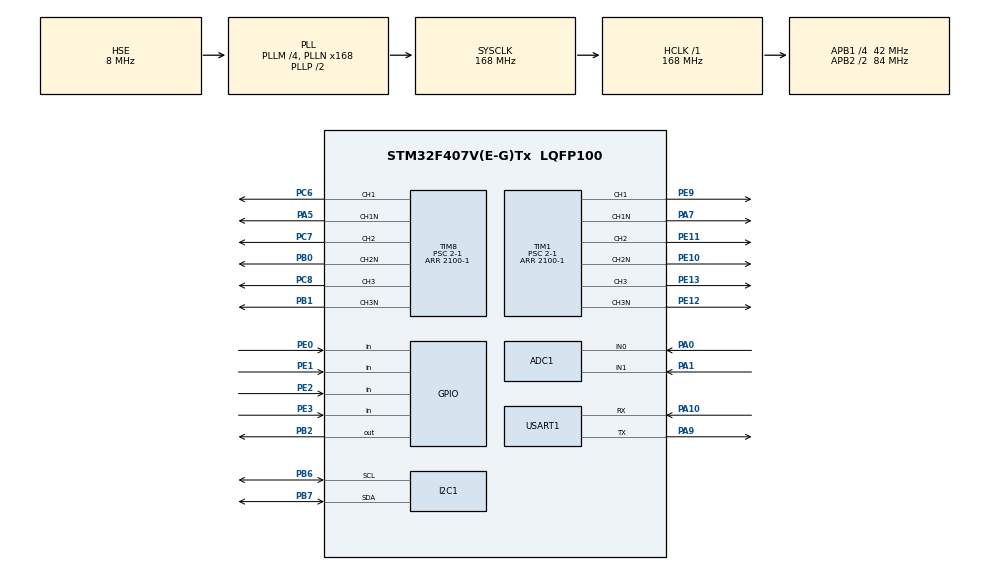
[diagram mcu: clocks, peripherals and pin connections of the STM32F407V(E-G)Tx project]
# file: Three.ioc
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ADC1.Channel-3\#ChannelRegularConversion=ADC_CHANNEL_0
ADC1.Channel-4\#ChannelRegularConversion=ADC_CHANNEL_1
ADC1.EOCSelection=ADC_EOC_SINGLE_CONV
ADC1.ExternalTrigConv=ADC_EXTERNALTRIGCONV_T8_TRGO
ADC1.NbrOfConversion=2
ADC1.NbrOfConversionFlag=1
ADC1.Rank-3\#ChannelRegularConversion=1
ADC1.Rank-4\#ChannelRegularConversion=2
ADC1.SamplingTime-3\#ChannelRegularConversion=ADC_SAMPLETIME_3CYCLES
ADC1.SamplingTime-4\#ChannelRegularConversion=ADC_SAMPLETIME_3CYCLES
ADC1.ScanConvMode=ENABLE
ADC1.master=1
Dma.ADC1.0.Direction=DMA_PERIPH_TO_MEMORY
Dma.ADC1.0.FIFOMode=DMA_FIFOMODE_DISABLE
Dma.ADC1.0.Instance=DMA2_Stream0
Dma.ADC1.0.MemDataAlignment=DMA_MDATAALIGN_HALFWORD
Dma.ADC1.0.MemInc=DMA_MINC_ENABLE
Dma.ADC1.0.Mode=DMA_NORMAL
Dma.ADC1.0.PeriphDataAlignment=DMA_PDATAALIGN_HALFWORD
Dma.ADC1.0.PeriphInc=DMA_PINC_DISABLE
Dma.ADC1.0.Priority=DMA_PRIORITY_HIGH
Dma.Request0=ADC1
Mcu.Family=STM32F4
Mcu.Name=STM32F407V(E-G)Tx
Mcu.Package=LQFP100
NVIC.DMA2_Stream0_IRQn=true\:0\:0\:false\:false\:true\:false\:true\:true
NVIC.PriorityGroup=NVIC_PRIORITYGROUP_4
NVIC.TIM2_IRQn=true\:2\:0\:true\:false\:true\:true\:true\:true
NVIC.TIM5_IRQn=true\:0\:0\:false\:false\:true\:true\:true\:true
NVIC.TIM8_UP_TIM13_IRQn=true\:1\:0\:true\:false\:true\:true\:true\:true
PA0-WKUP.Signal=ADCx_IN0
PA1.Signal=ADCx_IN1
PA10.Mode=Asynchronous
PA10.Signal=USART1_RX
PA13.Mode=Serial_Wire
PA13.Signal=SYS_JTMS-SWDIO
PA14.Mode=Serial_Wire
PA14.Signal=SYS_JTCK-SWCLK
PA5.Mode=PWM Generation1 CH1 CH1N
PA5.Signal=TIM8_CH1N
PA7.Mode=PWM Generation1 CH1 CH1N
PA7.Signal=TIM1_CH1N
PA9.Mode=Asynchronous
PA9.Signal=USART1_TX
PB0.Mode=PWM Generation2 CH2 CH2N
PB0.Signal=TIM8_CH2N
PB1.Mode=PWM Generation3 CH3 CH3N
PB1.Signal=TIM8_CH3N
PB2.PinState=GPIO_PIN_RESET
PB2.Signal=GPIO_Output
PB6.Mode=I2C
PB6.Signal=I2C1_SCL
PB7.Mode=I2C
PB7.Signal=I2C1_SDA
PC6.Signal=S_TIM8_CH1
PC7.Signal=S_TIM8_CH2
PC8.Signal=S_TIM8_CH3
PE0.GPIO_PuPd=GPIO_PULLUP
PE0.Signal=GPIO_Input
PE1.GPIO_PuPd=GPIO_PULLUP
PE1.Signal=GPIO_Input
PE10.Mode=PWM Generation2 CH2 CH2N
PE10.Signal=TIM1_CH2N
PE11.Signal=S_TIM1_CH2
PE12.Mode=PWM Generation3 CH3 CH3N
PE12.Signal=TIM1_CH3N
PE13.Signal=S_TIM1_CH3
PE2.GPIO_PuPd=GPIO_PULLUP
PE2.Signal=GPIO_Input
PE3.GPIO_PuPd=GPIO_PULLUP
PE3.Signal=GPIO_Input
PE9.Signal=S_TIM1_CH1
PH0-OSC_IN.Mode=HSE-External-Oscillator
PH0-OSC_IN.Signal=RCC_OSC_IN
PH1-OSC_OUT.Mode=HSE-External-Oscillator
PH1-OSC_OUT.Signal=RCC_OSC_OUT
ProjectManager.HeapSize=0x200
ProjectManager.StackSize=0x400
ProjectManager.TargetToolchain=MDK-ARM V5.32
RCC.48MHZClocksFreq_Value=84000000
RCC.AHBFreq_Value=168000000
RCC.APB1CLKDivider=RCC_HCLK_DIV4
RCC.APB1Freq_Value=42000000
RCC.APB1TimFreq_Value=84000000
RCC.APB2CLKDivider=RCC_HCLK_DIV2
RCC.APB2Freq_Value=84000000
RCC.APB2TimFreq_Value=168000000
RCC.CortexFreq_Value=168000000
RCC.HCLKFreq_Value=168000000
RCC.HSE_VALUE=8000000
RCC.HSI_VALUE=16000000
RCC.LSE_VALUE=32768
RCC.PLLM=4
RCC.PLLN=168
RCC.PLLSourceVirtual=RCC_PLLSOURCE_HSE
RCC.SYSCLKFreq_VALUE=168000000
RCC.SYSCLKSource=RCC_SYSCLKSOURCE_PLLCLK
RCC.VCOOutputFreq_Value=336000000
SH.ADCx_IN0.0=ADC1_IN0,IN0
SH.ADCx_IN1.0=ADC1_IN1,IN1
SH.S_TIM1_CH1.0=TIM1_CH1,PWM Generation1 CH1 CH1N
SH.S_TIM1_CH2.0=TIM1_CH2,PWM Generation2 CH2 CH2N
SH.S_TIM1_CH3.0=TIM1_CH3,PWM Generation3 CH3 CH3N
SH.S_TIM8_CH1.0=TIM8_CH1,PWM Generation1 CH1 CH1N
SH.S_TIM8_CH2.0=TIM8_CH2,PWM Generation2 CH2 CH2N
SH.S_TIM8_CH3.0=TIM8_CH3,PWM Generation3 CH3 CH3N
TIM1.AutomaticOutput=TIM_AUTOMATICOUTPUT_ENABLE
TIM1.Channel-PWM\ Generation1\ CH1\ CH1N=TIM_CHANNEL_1
TIM1.Channel-PWM\ Generation2\ CH2\ CH2N=TIM_CHANNEL_2
TIM1.Channel-PWM\ Generation3\ CH3\ CH3N=TIM_CHANNEL_3
TIM1.CounterMode=TIM_COUNTERMODE_CENTERALIGNED1
TIM1.DeadTime=168
TIM1.OCIdleState_1=TIM_OCIDLESTATE_SET
TIM1.OCIdleState_2=TIM_OCIDLESTATE_SET
TIM1.OCIdleState_3=TIM_OCIDLESTATE_SET
TIM1.Period=2100-1
TIM1.Prescaler=2-1
TIM1.Pulse-PWM\ Generation1\ CH1\ CH1N=500
TIM1.Pulse-PWM\ Generation2\ CH2\ CH2N=500
TIM1.Pulse-PWM\ Generation3\ CH3\ CH3N=500
TIM1.RepetitionCounter=1
TIM2.Period=2000
TIM2.Prescaler=8400
TIM5.Period=100-1
TIM5.Prescaler=\ 56-1
TIM8.AutomaticOutput=TIM_AUTOMATICOUTPUT_ENABLE
TIM8.Channel-PWM\ Generation1\ CH1\ CH1N=TIM_CHANNEL_1
TIM8.Channel-PWM\ Generation2\ CH2\ CH2N=TIM_CHANNEL_2
TIM8.Channel-PWM\ Generation3\ CH3\ CH3N=TIM_CHANNEL_3
TIM8.CounterMode=TIM_COUNTERMODE_CENTERALIGNED1
TIM8.DeadTime=84
TIM8.OCIdleState_1=TIM_OCIDLESTATE_RESET
TIM8.Period=2100-1
TIM8.Prescaler=2-1
TIM8.Pulse-PWM\ Generation1\ CH1\ CH1N=500
TIM8.Pulse-PWM\ Generation2\ CH2\ CH2N=500
TIM8.Pulse-PWM\ Generation3\ CH3\ CH3N=500
TIM8.RepetitionCounter=1
TIM8.TIM_MasterOutputTrigger=TIM_TRGO_UPDATE
USART1.VirtualMode=VM_ASYNC
VP_TIM2_VS_ClockSourceINT.Mode=Internal
VP_TIM5_VS_ClockSourceINT.Mode=Internal
VP_TIM8_VS_ClockSourceINT.Mode=Internal
board=custom

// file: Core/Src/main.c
/* USER CODE BEGIN Header */
/**
  ******************************************************************************
  * @file           : main.c
  * @brief          : Main program body
  ******************************************************************************
  * @attention
  *
  * Copyright (c) 2025 STMicroelectronics.
  * All rights reserved.
  *
  * This software is licensed under terms that can be found in the LICENSE file
  * in the root directory of this software component.
  * If no LICENSE file comes with this software, it is provided AS-IS.
  *
  ******************************************************************************
  */
/* USER CODE END Header */
#include "main.h"
#include "adc.h"
#include "dma.h"
#include "i2c.h"
#include "tim.h"
#include "usart.h"
#include "gpio.h"

/* USER CODE BEGIN Includes */
#include "sin_table.h"
#include "harmonic3_table.h"
#include "oled.h"
#include <math.h>
#include <string.h>
#include <stdio.h>
#include "button.h"
#include "flash.h"
#include "filter.h"
/* USER CODE END Includes */

/* USER CODE BEGIN PTD */
#define DMA_SIZE 1600
#define PI 3.1415926f
#define V_TAR_DEF 32.0f
#define FLASH_PARAM_ADDR  ((uint32_t)0x08060000)
#define ADC_FILTER_SIZE 10

typedef struct
{
	uint16_t index_raw;
	uint16_t index1;
	uint16_t index2;
	uint16_t index3;
} Index_TypeDef;

typedef struct
{
	uint16_t duty1;
	uint16_t duty2;
	uint16_t duty3;
	uint16_t dutya;
	uint16_t dutyb;
	uint16_t dutyc;
} Duty_TypeDef;

typedef struct
{
	float data[5];
	uint8_t tail[4];
} Tx_Buf_TypeDef;

typedef struct
{
	float v_filter_buf[DMA_SIZE/(2*ADC_FILTER_SIZE)];
	uint16_t v_buf[DMA_SIZE/2];
	uint16_t i_buf[DMA_SIZE/2];
	float Vrms;
	float Irms;
	float Iavr;
	float Vavr;
	float Vtar;
	float sin_k;
	float sin_n;
	float offset;

	float kp;
	float ki;
	float err;
	float err_prev;
	float w0;
	float kv;
} V_Ctrl_TypeDef;

typedef struct
{
	uint8_t sin_k[16];
	uint8_t vrms[8];
	uint8_t irms[8];
	uint8_t sin_n[16];
	uint8_t offset[16];

	uint8_t kp[8];
	uint8_t ki[8];
	uint8_t vtar[8];
	uint8_t kv[8];
	uint8_t w0[8];
} OLED_String_Group;

typedef enum
{
	info_page = 0,
	setting_page,
	in_setting
} PAGE_NUM;

typedef enum
{
	sel_kp = 0,
	sel_ki,
	sel_var,
	sel_kv,
	sel_w0,
	sel_sin_n,
	sel_offset
} SEL_NUM;

typedef struct
{
	uint8_t page_num;
	uint8_t sel_num;
} OLED_STATE;

/* USER CODE END PTD */

/* USER CODE BEGIN PV */
V_Ctrl_TypeDef v_ctrl = {0};

const OLED_String_Group oled_string_group = {
	.sin_k	= "    M:",
	.vrms		= "V_RMS:",
	.irms		= "I_RMS:",
	.sin_n      = "SIN_N :",

	.kp			= "  kp:",
	.ki			= "  ki:",
	.vtar		= "V_Tar:",
	.kv			= "  kv:",
	.w0			= "  f:",
	.offset ="offset:"
};

volatile uint8_t dma_flag = 0;
volatile uint8_t tim2_flag = 0;
volatile uint16_t tim2_count = 0;
volatile uint8_t tim_1s = 0;
uint16_t dma_buf[DMA_SIZE] = {0};

OLED_STATE oled_state = {0};

Button btn0 = {0};
Button btn1 = {0};
Button btn2 = {0};
Button btn3 = {0};

/* USER CODE END PV */

void SystemClock_Config(void);
/* USER CODE BEGIN PFP */

/*-----------------------设置PWM的函数------------------------------*/
void pwm_start(void);
void get_index(Index_TypeDef* index, float w0t);
void get_duty(Index_TypeDef* index, Duty_TypeDef* duty, V_Ctrl_TypeDef* v_ctrl);
void set_compare(Duty_TypeDef* duty);

/*--------------------PI控制电压所用函数--------------------------*/
void V_Ctrl_Init(V_Ctrl_TypeDef* v_ctrl);
void calculate_aver(V_Ctrl_TypeDef* v_ctrl);
void calculate_rms(V_Ctrl_TypeDef* v_ctrl);
void v_pid_update(V_Ctrl_TypeDef* v_ctrl);
void split_buf(V_Ctrl_TypeDef* v_ctrl);

/*------------------------屏幕显示所用函数--------------------------------*/
void display_info_page_title(const OLED_String_Group* oled_string_group);
void display_info(const V_Ctrl_TypeDef* v_ctrl);
void display_setting_page_title(const OLED_String_Group* oled_string_group);
void display_array(const OLED_STATE* oled_state);
void display_star(const OLED_STATE* oled_state);
void display_setting_info(V_Ctrl_TypeDef* v_ctrl);

/*--------------------按键控制所用函数--------------------------*/
void button_group_init(void);
void button_group_update(void);
void button_ui_update(void);

/*------------flash------------*/

/* USER CODE END PFP */

int main(void)
{

  /* MCU Configuration--------------------------------------------------------*/

  /* Reset of all peripherals, Initializes the Flash interface and the Systick. */
  HAL_Init();

  /* Configure the system clock */
  SystemClock_Config();

  /* Initialize all configured peripherals */
  MX_GPIO_Init();
  MX_DMA_Init();
  MX_USART1_UART_Init();
  MX_TIM5_Init();
  MX_ADC1_Init();
  MX_TIM8_Init();
  MX_I2C1_Init();
  MX_TIM2_Init();
  MX_TIM1_Init();
  /* USER CODE BEGIN 2 */

	//初始化PID控制
	V_Ctrl_Init(&v_ctrl);

	//开启PWM波
	pwm_start();

	//用来中断对w0积分
	HAL_GPIO_WritePin(GPIOB,GPIO_PIN_2,GPIO_PIN_SET);
	HAL_TIM_Base_Start_IT(&htim5);

//	HAL_TIM_Base_Start_IT(&htim8);

	//用来中断显示屏幕
	//WriteFlashData((FLASH_PARAM_ADDR+24), (uint8_t *)0xffffffff, sizeof(uint32_t));
	HAL_TIM_Base_Start_IT(&htim2);

	//开启ADC采样
	HAL_ADC_Start_DMA(&hadc1, (uint32_t*)dma_buf, DMA_SIZE);
	OLED_Init();
	OLED_Display_On();
	display_info_page_title(&oled_string_group);

	//初始化按键
	button_group_init();

  /* USER CODE END 2 */

  /* Infinite loop */
  /* USER CODE BEGIN WHILE */
  while (1)
  {
		button_group_update();
		button_ui_update();

		if(tim2_flag){
				if(tim2_count >= 50&& tim_1s == 0 )
				{
					tim_1s = 1;
					tim2_count = 0;
				}

				tim2_flag =0;
				if(oled_state.page_num == info_page) display_info(&v_ctrl);
				if(oled_state.page_num == in_setting)
				{
					//添加一行Vrms显示，方便调变比
					char v_rms[8];
					OLED_ShowString(0, 7, (uint8_t*)oled_string_group.vrms, 12);
					sprintf(v_rms, "%.3f", v_ctrl.Vrms);
					OLED_ShowString(50, 7, (uint8_t *)v_rms, 12);
				}
		}

		if(dma_flag == 1)
		{
			dma_flag = 0;
			split_buf(&v_ctrl);
			calculate_aver(&v_ctrl);
			calculate_rms(&v_ctrl);

			v_pid_update(&v_ctrl);
			HAL_ADC_Start_DMA(&hadc1, (uint32_t*)dma_buf, DMA_SIZE);
//			HAL_GPIO_TogglePin(GPIOB,GPIO_PIN_2);
		}

    /* USER CODE END WHILE */

	}
}

void SystemClock_Config(void)
{
  RCC_OscInitTypeDef RCC_OscInitStruct = {0};
  RCC_ClkInitTypeDef RCC_ClkInitStruct = {0};

  /** Configure the main internal regulator output voltage
  */
  __HAL_RCC_PWR_CLK_ENABLE();
  __HAL_PWR_VOLTAGESCALING_CONFIG(PWR_REGULATOR_VOLTAGE_SCALE1);

  /** Initializes the RCC Oscillators according to the specified parameters
  * in the RCC_OscInitTypeDef structure.
  */
  RCC_OscInitStruct.OscillatorType = RCC_OSCILLATORTYPE_HSE;
  RCC_OscInitStruct.HSEState = RCC_HSE_ON;
  RCC_OscInitStruct.PLL.PLLState = RCC_PLL_ON;
  RCC_OscInitStruct.PLL.PLLSource = RCC_PLLSOURCE_HSE;
  RCC_OscInitStruct.PLL.PLLM = 4;
  RCC_OscInitStruct.PLL.PLLN = 168;
  RCC_OscInitStruct.PLL.PLLP = RCC_PLLP_DIV2;
  RCC_OscInitStruct.PLL.PLLQ = 4;
  if (HAL_RCC_OscConfig(&RCC_OscInitStruct) != HAL_OK)
  {
    Error_Handler();
  }

  /** Initializes the CPU, AHB and APB buses clocks
  */
  RCC_ClkInitStruct.ClockType = RCC_CLOCKTYPE_HCLK|RCC_CLOCKTYPE_SYSCLK
                              |RCC_CLOCKTYPE_PCLK1|RCC_CLOCKTYPE_PCLK2;
  RCC_ClkInitStruct.SYSCLKSource = RCC_SYSCLKSOURCE_PLLCLK;
  RCC_ClkInitStruct.AHBCLKDivider = RCC_SYSCLK_DIV1;
  RCC_ClkInitStruct.APB1CLKDivider = RCC_HCLK_DIV4;
  RCC_ClkInitStruct.APB2CLKDivider = RCC_HCLK_DIV2;

  if (HAL_RCC_ClockConfig(&RCC_ClkInitStruct, FLASH_LATENCY_5) != HAL_OK)
  {
    Error_Handler();
  }
}

/* USER CODE BEGIN 4 */
void HAL_TIM_PeriodElapsedCallback(TIM_HandleTypeDef *htim)
{
	if(htim->Instance == TIM8)
	{
		//HAL_GPIO_TogglePin(GPIOA, GPIO_PIN_1);
	}

	if(htim->Instance == TIM5)
	{
		static float w0t = 0.0f;
		static Index_TypeDef INDEX = {0};
		static Duty_TypeDef DUTY = {0};
		static float Ts = 1.0f/15000.0f; //15kHz

		w0t += v_ctrl.w0*2*PI * Ts; //15kHz

		if(w0t > 2*PI) w0t -= 2*PI;
		else if(w0t < 0) w0t += 2*PI;

		get_index(&INDEX, w0t);
		get_duty(&INDEX, &DUTY, &v_ctrl);
		set_compare(&DUTY);
	}
	if(htim->Instance == TIM2)
	{
		tim2_flag = 1;
		if(tim_1s == 0)
		{
			tim2_count ++ ;
		}

	}
}

void HAL_ADC_ConvCpltCallback(ADC_HandleTypeDef *hadc)
{
	if(hadc->Instance == ADC1)
	{
		dma_flag = 1;
	}
}

void get_index(Index_TypeDef* index, float w0t)
{
	index->index_raw = (uint16_t)roundf(w0t / (2.0f * PI) * 1200);
	index->index1 = index->index_raw;
	index->index2 = (index->index_raw + 400) % 1200;
	index->index3 = (index->index_raw + 800) % 1200;

	return;
}

void get_duty(Index_TypeDef* index, Duty_TypeDef* duty, V_Ctrl_TypeDef* v_ctrl)
{
	int indexa = index->index1+(int)v_ctrl->offset;
	if(indexa>1200)
	{
		indexa = indexa-1200;
	}
	else if (indexa<0)
	{
		indexa = 1200+indexa;
	}

	int indexb = index->index2+(int)v_ctrl->offset;
	if(indexb>1200)
	{
		indexb = indexb-1200;
	}
	else if (indexb<0)
	{
		indexb = 1200+indexb;
	}

	int indexc = index->index3+(int)v_ctrl->offset;
	if(indexc>1200)
	{
		indexc = indexc-1200;
	}
	else if (indexc<0)
	{
		indexc = 1200+indexc;
	}

	if(tim_1s == 0)
	{
		duty->duty1 =v_ctrl->sin_k * (sin_table[index->index1] + harmonic3_table[index->index1] / 6.0f) + 1050;
		duty->duty2 = v_ctrl->sin_k* (sin_table[index->index2] + harmonic3_table[index->index2] / 6.0f) + 1050;
		duty->duty3 =v_ctrl->sin_k * (sin_table[index->index3] + harmonic3_table[index->index3] / 6.0f) + 1050;

	//	duty->duty1 = 0.7  * (sin_table[index->index1] + harmonic3_table[index->index1] / 6.0f) + 1050;
	//	duty->duty2 = 0.7  * (sin_table[index->index2] + harmonic3_table[index->index2] / 6.0f) + 1050;
	//	duty->duty3 = 0.7  * (sin_table[index->index3] + harmonic3_table[index->index3] / 6.0f) + 1050;

		duty->dutya =  v_ctrl->sin_k * (sin_table[indexa] + harmonic3_table[indexa] / 6.0f) + 1050;
		duty->dutyb =  v_ctrl->sin_k* (sin_table[indexb] + harmonic3_table[indexb] / 6.0f) + 1050;
		duty->dutyc =  v_ctrl->sin_k * (sin_table[indexc] + harmonic3_table[indexc] / 6.0f) + 1050;
	}

	else {
		duty->duty1 = v_ctrl->sin_k  * (sin_table[index->index1] + harmonic3_table[index->index1] / 6.0f) + 1050;
		duty->duty2 = v_ctrl->sin_k  * (sin_table[index->index2] + harmonic3_table[index->index2] / 6.0f) + 1050;
		duty->duty3 = v_ctrl->sin_k  * (sin_table[index->index3] + harmonic3_table[index->index3] / 6.0f) + 1050;

		duty->dutya = v_ctrl->sin_n*(sin_table[indexa] + harmonic3_table[indexa] / 6.0f) + 1050;
		duty->dutyb = v_ctrl->sin_n*(sin_table[indexb] + harmonic3_table[indexb] / 6.0f) + 1050;
		duty->dutyc = v_ctrl->sin_n*(sin_table[indexc] + harmonic3_table[indexc] / 6.0f) + 1050;

		HAL_GPIO_WritePin(GPIOB,GPIO_PIN_2,GPIO_PIN_RESET);
	}

}

void set_compare(Duty_TypeDef* duty)
{
	__HAL_TIM_SetCompare(&htim8, TIM_CHANNEL_1, duty->duty1);
	__HAL_TIM_SetCompare(&htim1, TIM_CHANNEL_1, duty->dutya);

	__HAL_TIM_SetCompare(&htim8, TIM_CHANNEL_2, duty->duty2);
	__HAL_TIM_SetCompare(&htim1, TIM_CHANNEL_2, duty->dutyb);

	__HAL_TIM_SetCompare(&htim8, TIM_CHANNEL_3, duty->duty3);
	__HAL_TIM_SetCompare(&htim1, TIM_CHANNEL_3, duty->dutyc);

	return;
}

void pwm_start(void)
{
	HAL_TIM_PWM_Start(&htim8, TIM_CHANNEL_1);
	HAL_TIMEx_PWMN_Start(&htim8, TIM_CHANNEL_1);
	HAL_TIM_PWM_Start(&htim8, TIM_CHANNEL_2);
	HAL_TIMEx_PWMN_Start(&htim8, TIM_CHANNEL_2);
	HAL_TIM_PWM_Start(&htim8, TIM_CHANNEL_3);
	HAL_TIMEx_PWMN_Start(&htim8, TIM_CHANNEL_3);

	//开启tim1 整流pwm
	HAL_TIM_PWM_Start(&htim1, TIM_CHANNEL_1);
	HAL_TIMEx_PWMN_Start(&htim1, TIM_CHANNEL_1);
	HAL_TIM_PWM_Start(&htim1, TIM_CHANNEL_2);
	HAL_TIMEx_PWMN_Start(&htim1, TIM_CHANNEL_2);
	HAL_TIM_PWM_Start(&htim1, TIM_CHANNEL_3);
	HAL_TIMEx_PWMN_Start(&htim1, TIM_CHANNEL_3);

	return;
}

void V_Ctrl_Init(V_Ctrl_TypeDef* v_ctrl)
{
	//统一赋0，需要改的单独列出来改
	memset((void *)v_ctrl, 0x0, sizeof(V_Ctrl_TypeDef));
	float kv_flash = *(float*)(FLASH_PARAM_ADDR + 0);
	float   Vtar_flash = *(float*)(FLASH_PARAM_ADDR + 4);
	float   kp_flash   = *(float*)(FLASH_PARAM_ADDR + 8);
	float   ki_flash   = *(float*)(FLASH_PARAM_ADDR + 12);
	float   w0_flash   = *(float*)(FLASH_PARAM_ADDR + 16);
	float   sinn_flash   = *(float*)(FLASH_PARAM_ADDR + 20);
	float   offset_flash   = *(float*)(FLASH_PARAM_ADDR + 24);
	v_ctrl->sin_k = 0.7f;
//	v_ctrl->sin_n = 0.7f;
//	v_ctrl->offset = 0.0f;

	if (*(uint32_t*)&kv_flash != 0xFFFFFFFF)
			v_ctrl->kv = kv_flash;
	else
			v_ctrl->kv = 43.0f;
	if (*(uint32_t*)&Vtar_flash != 0xFFFFFFFF)
			v_ctrl->Vtar = Vtar_flash;
	else
			v_ctrl->Vtar = V_TAR_DEF;

	if (*(uint32_t*)&kp_flash != 0xFFFFFFFF)
			v_ctrl->kp = kp_flash;
	else
			v_ctrl->kp = 0.02f;

	if (*(uint32_t*)&ki_flash != 0xFFFFFFFF)
			v_ctrl->ki = ki_flash;
	else
			v_ctrl->ki = 0.01f;
	if(*(uint32_t*)&v_ctrl->w0 != 0xFFFFFFFF)
			v_ctrl->w0 = w0_flash;
	else
			v_ctrl->w0 = 50;

	if (*(uint32_t*)&sinn_flash != 0xFFFFFFFF)
			v_ctrl->sin_n = sinn_flash;
	else
			v_ctrl->sin_n = 0.8f;

	if (*(uint32_t*)& offset_flash != 0xFFFFFFFF)
			v_ctrl->offset =  offset_flash;
	else
			v_ctrl->offset = 0.0f;

}
void split_buf(V_Ctrl_TypeDef* v_ctrl)
{
	//将DMA采样电压分为I和V
	for(int i=0; i<DMA_SIZE; i++)
	{
		if(i %2 ==0)
		{
			v_ctrl->v_buf[i/2] = dma_buf[i];
		}
		else
		{
			v_ctrl->i_buf[i/2] = dma_buf[i];
		}
	}
	int filter_block = 0;
    for (int i = 0; i + ADC_FILTER_SIZE <= DMA_SIZE/2; i += ADC_FILTER_SIZE)
    {
        v_ctrl->v_filter_buf[filter_block++] = DMA_U16_Filter_ClippedAverage_MedianBase(&v_ctrl->v_buf[i], ADC_FILTER_SIZE, 600);
    }

}
void calculate_aver(V_Ctrl_TypeDef* v_ctrl)
{
	//计算平均值（偏置）
	v_ctrl->Vavr = 0;
	int block_count = DMA_SIZE / 2 / ADC_FILTER_SIZE;

    for (int i = 0; i < block_count; i++) {
        v_ctrl->Vavr += v_ctrl->v_filter_buf[i];
    }

    for (int i = 0; i < DMA_SIZE / 2; i++) {
        float i_v = v_ctrl->i_buf[i] * 3.3f / 4096.0f;
        v_ctrl->Iavr += i_v;
    }

    v_ctrl->Vavr /= block_count;
    v_ctrl->Iavr /= (DMA_SIZE / 2);
}

void calculate_rms(V_Ctrl_TypeDef* v_ctrl)
{
		//去偏置再计算 RMS
		v_ctrl->Vrms = 0;
    v_ctrl->Irms = 0;

    int block_count = DMA_SIZE / 2 / ADC_FILTER_SIZE;

    for (int i = 0; i < block_count; i++) {
        float ac = v_ctrl->v_filter_buf[i] - v_ctrl->Vavr;
        v_ctrl->Vrms += (ac * ac);
    }

    for (int i = 0; i < DMA_SIZE / 2; i++) {
        float i_v = v_ctrl->i_buf[i] * 3.3f / 4096.0f;
        float ac = i_v - v_ctrl->Iavr;
        v_ctrl->Irms += (ac * ac);
    }

    v_ctrl->Vrms = sqrtf(v_ctrl->Vrms / block_count);
    v_ctrl->Vrms = v_ctrl->Vrms * v_ctrl->kv;
    v_ctrl->Irms = sqrtf(v_ctrl->Irms / (DMA_SIZE / 2));
}

void v_pid_update(V_Ctrl_TypeDef* v_ctrl)
{
	v_ctrl->err = v_ctrl->Vtar - v_ctrl->Vrms;
	v_ctrl->sin_k += v_ctrl->kp * (v_ctrl->err - v_ctrl->err_prev) + v_ctrl->ki * v_ctrl->err;

	// 限幅处理
	if (v_ctrl->sin_k < 0.05f) v_ctrl->sin_k = 0.05f;
	if (v_ctrl->sin_k > 0.95f) v_ctrl->sin_k = 0.95f;

	v_ctrl->err_prev = v_ctrl->err;
}

void display_info_page_title(const OLED_String_Group* oled_string_group)
{
	OLED_Clear();
	OLED_ShowString(0, 0, (uint8_t*)oled_string_group->sin_k, 16);
	OLED_ShowString(0, 2, (uint8_t*)oled_string_group->vrms, 16);
	OLED_ShowString(0, 4, (uint8_t*)oled_string_group->irms, 16);
	OLED_ShowString(0, 6, (uint8_t*)oled_string_group->sin_n, 16);
}

void display_setting_page_title(const OLED_String_Group* oled_string_group)
{
	OLED_Clear();
	OLED_ShowString(0, 0, (uint8_t*)oled_string_group->kp, 12);
	OLED_ShowString(0, 1, (uint8_t*)oled_string_group->ki, 12);
	OLED_ShowString(0, 2, (uint8_t*)oled_string_group->vtar, 12);
	OLED_ShowString(0, 3, (uint8_t*)oled_string_group->kv, 12);
	OLED_ShowString(0, 4, (uint8_t*)oled_string_group->w0, 12);
	OLED_ShowString(0, 5, (uint8_t*)oled_string_group->sin_n, 12);
	OLED_ShowString(0, 6, (uint8_t*)oled_string_group->offset, 12);
}

void display_info(const V_Ctrl_TypeDef* v_ctrl)
{
	static char sin_k[8];
	static char v_rms[8];
	static char i_rms[8];
	static char sin_n[8];

	sprintf(sin_k, "%.3f", v_ctrl->sin_k);
	sprintf(v_rms, "%.3f", v_ctrl->Vrms);
	sprintf(i_rms, "%.3f", v_ctrl->Irms);
	sprintf(sin_n, "%.3f", v_ctrl->sin_n);
	OLED_ShowString(50, 0, (uint8_t *)sin_k, 16);
	OLED_ShowString(50, 2, (uint8_t *)v_rms, 16);
	OLED_ShowString(50, 4, (uint8_t *)i_rms, 16);
	OLED_ShowString(50, 6, (uint8_t *)sin_n, 16);
}

void display_array(const OLED_STATE* oled_state)
{

	//先清除所有箭头
	OLED_ShowString(100, 0, (uint8_t*)"   ", 12);
	OLED_ShowString(100, 1, (uint8_t*)"   ", 12);
	OLED_ShowString(100, 2, (uint8_t*)"   ", 12);
	OLED_ShowString(100, 3, (uint8_t*)"   ", 12);
	OLED_ShowString(100, 4, (uint8_t*)"   ", 12);
	OLED_ShowString(100, 5, (uint8_t*)"   ", 12);
	OLED_ShowString(100, 6, (uint8_t*)"   ", 12);
	static uint8_t array[4] = "<--";
	switch(oled_state->sel_num)
	{
		case sel_kp:
			OLED_ShowString(100, 0, array, 12);
			break;
		case sel_ki:
			OLED_ShowString(100, 1, array, 12);
			break;
		case sel_var:
			OLED_ShowString(100, 2, array, 12);
			break;
		case sel_kv:
			OLED_ShowString(100, 3, array, 12);
			break;
		case sel_w0:
			OLED_ShowString(100, 4, array, 12);
			break;
		case sel_sin_n:
			OLED_ShowString(100, 5, array, 12);
			break;
		case sel_offset:
			OLED_ShowString(100, 6, array, 12);
			break;
	}
}

void display_star(const OLED_STATE* oled_state)
{
	//先清除所有星星
	OLED_ShowString(100, 0, (uint8_t*)"   ", 12);
	OLED_ShowString(100, 1, (uint8_t*)"   ", 12);
	OLED_ShowString(100, 2, (uint8_t*)"   ", 12);
	OLED_ShowString(100, 3, (uint8_t*)"   ", 12);
	OLED_ShowString(100, 4, (uint8_t*)"   ", 12);
	OLED_ShowString(100, 5, (uint8_t*)"   ", 12);
	OLED_ShowString(100, 6, (uint8_t*)"   ", 12);
	static uint8_t array[4] = "*";
	switch(oled_state->sel_num)
	{
		case sel_kp:
			OLED_ShowString(100, 0, array, 12);
			break;
		case sel_ki:
			OLED_ShowString(100, 1, array, 12);
			break;
		case sel_var:
			OLED_ShowString(100, 2, array, 12);
			break;
		case sel_kv:
			OLED_ShowString(100, 3, array, 12);
			break;
		case sel_w0:
			OLED_ShowString(100, 4, array, 12);
			break;
		case sel_sin_n:
			OLED_ShowString(100, 5, array, 12);
			break;
		case sel_offset:
			OLED_ShowString(100, 6, array, 12);
			break;
	}
}

void display_setting_info(V_Ctrl_TypeDef* v_ctrl)
{
	static char kp[8];
	static char ki[8];
	static char vtar[8];
	static char kv[8];
	static char w0[8];
	static char sin_n[8];
	static char offset[8];

	sprintf(kp, "%.2f", v_ctrl->kp);
	sprintf(ki, "%.2f", v_ctrl->ki);
	sprintf(vtar, "%.2f", v_ctrl->Vtar);
	sprintf(kv, "%5.2f", v_ctrl->kv);
	sprintf(w0, "%.2f", v_ctrl->w0);
	sprintf(sin_n, "%.2f", v_ctrl->sin_n);
	sprintf(offset, "%.2f", v_ctrl->offset);
	OLED_ShowString(50, 0, (uint8_t *)kp, 12);
	OLED_ShowString(50, 1, (uint8_t *)ki, 12);
	OLED_ShowString(50, 2, (uint8_t *)vtar, 12);
	OLED_ShowString(50, 3, (uint8_t *)kv, 12);
	OLED_ShowString(50, 4, (uint8_t *)w0, 12);
	OLED_ShowString(50, 5, (uint8_t *)sin_n, 12);
	OLED_ShowString(50, 6, (uint8_t *)offset, 12);
}

void button_group_init(void)
{
	Button_Init(&btn0, GPIOE, GPIO_PIN_0, 0);
	Button_Init(&btn1, GPIOE, GPIO_PIN_1, 0);
	Button_Init(&btn2, GPIOE, GPIO_PIN_2, 0);
	Button_Init(&btn3, GPIOE, GPIO_PIN_3, 0);
}
void button_group_update(void)
{
	Button_Update(&btn0);
	Button_Update(&btn1);
	Button_Update(&btn2);
	Button_Update(&btn3);
}

void button_ui_update(void)
{
	//*号键
		ButtonEvent evt0 = Button_GetEvent(&btn0);
		ButtonEvent evt1 = Button_GetEvent(&btn1);
		ButtonEvent evt2 = Button_GetEvent(&btn2);
		ButtonEvent evt3 = Button_GetEvent(&btn3);
		if(evt0  == BUTTON_EVENT_CLICK)
		{
			//切换页面
			if(oled_state.page_num != in_setting)
			{
				if(oled_state.page_num == 1) oled_state.page_num = 0;
				else oled_state.page_num ++;
			}

			//显示页面标题
			if(oled_state.page_num == info_page) display_info_page_title(&oled_string_group);
			else if(oled_state.page_num == setting_page)
			{
				display_setting_page_title(&oled_string_group);
				display_setting_info(&v_ctrl);
				display_array(&oled_state);
			}
		}

		//#号键
		if(evt1 == BUTTON_EVENT_CLICK)
		{
			if(oled_state.page_num == setting_page)
			{
				oled_state.page_num = in_setting;
				display_star(&oled_state);
			}
			else if(oled_state.page_num == in_setting)
			{
				oled_state.page_num = setting_page;
				display_array(&oled_state);
				WriteFlashData(FLASH_PARAM_ADDR, (uint8_t *)&(v_ctrl.kv), sizeof(uint32_t));
				WriteFlashData((FLASH_PARAM_ADDR+4),(uint8_t *)&(v_ctrl.Vtar), sizeof(uint32_t));
				WriteFlashData((FLASH_PARAM_ADDR+8),(uint8_t *)&(v_ctrl.kp), sizeof(uint32_t));
				WriteFlashData((FLASH_PARAM_ADDR+12),(uint8_t *)&(v_ctrl.ki), sizeof(uint32_t));
				WriteFlashData((FLASH_PARAM_ADDR+16),(uint8_t *)&(v_ctrl.w0), sizeof(uint32_t));
				WriteFlashData((FLASH_PARAM_ADDR+20),(uint8_t *)&(v_ctrl.sin_n), sizeof(uint32_t));
				WriteFlashData((FLASH_PARAM_ADDR+24),(uint8_t *)&(v_ctrl.offset), sizeof(uint32_t));
			}
		}

		//下箭头
		if(evt2 == BUTTON_EVENT_CLICK)
 		{

			if(oled_state.page_num == setting_page)
			{
				if(oled_state.sel_num == 6) oled_state.sel_num = 0;
				else oled_state.sel_num ++;
				display_array(&oled_state);
			}
			else if(oled_state.page_num == in_setting)
			{
				switch(oled_state.sel_num)
				{
					case sel_kp:
						v_ctrl.kp -= 0.01;
						if(v_ctrl.kp < 0.0f) v_ctrl.kp = 0.0f;
						break;
					case sel_ki:
						v_ctrl.ki -= 0.01;
						if(v_ctrl.ki < 0.0f) v_ctrl.ki = 0.0f;
						break;
//					case sel_ki:
//							v_ctrl.sin_k-=0.01;
//							if(v_ctrl.sin_k < 0.0f) v_ctrl.sin_k = 0.0f;
					case sel_var:
						v_ctrl.Vtar -= 1;
						if(v_ctrl.Vtar < 0.0f) v_ctrl.Vtar = 0.0f;
						break;
					case sel_kv:
						v_ctrl.kv -= 0.01;
						if(v_ctrl.Vtar < 0.0f) v_ctrl.kv = 0.0f;
						break;
					case sel_w0:
						v_ctrl.w0 -= 1;
						if(v_ctrl.w0 < 0.0f) v_ctrl.w0 = 0.0f;
					  break;
					case sel_sin_n:
						v_ctrl.sin_n -= 0.01;
						if(v_ctrl.sin_n < 0.0f) v_ctrl.sin_n = 0.0f;
					break;
					case sel_offset:
						v_ctrl.offset -= 0.1;
					break;
				}

				display_setting_info(&v_ctrl);
			}
		}
		else if (evt2== BUTTON_EVENT_LONG_PRESS)
		{
			if(oled_state.page_num == in_setting)
			{
				switch(oled_state.sel_num)
				{
					case sel_kp:
						v_ctrl.kp -= 0.1f;
						break;
					case sel_ki:
						v_ctrl.ki -= 0.1f;
						break;
//					case sel_ki:
//						v_ctrl.sin_k-=0.1;
//							if(v_ctrl.sin_k < 0.0f) v_ctrl.sin_k = 0.0f;
					case sel_var:
						v_ctrl.Vtar -= 1.0f;
						break;
					case sel_kv:
						v_ctrl.kv -= 0.1f;
						break;
					case sel_w0:
						v_ctrl.w0 -= 1.0f;
					  break;
					case sel_sin_n:
						v_ctrl.sin_n -= 0.1;
						if(v_ctrl.sin_n < 0.0f) v_ctrl.sin_n = 0.0f;
					break;
					case sel_offset:
						v_ctrl.offset -=1;
					break;
				}
				display_setting_info(&v_ctrl);
			}
		}
		//上箭头
		if(evt3 == BUTTON_EVENT_CLICK)
		{
			if(oled_state.page_num == setting_page)
			{
				if(oled_state.sel_num == 0) oled_state.sel_num = 6;
				else oled_state.sel_num --;
				display_array(&oled_state);
			}
			else if(oled_state.page_num == in_setting)
			{
				switch(oled_state.sel_num)
				{
					case sel_kp:
						v_ctrl.kp += 0.01;
						break;
					case sel_ki:
						v_ctrl.ki += 0.01;
						break;
//					case sel_ki:
//						v_ctrl.sin_k+=0.01;
					case sel_var:
						v_ctrl.Vtar += 1;
						break;
					case sel_kv:
						v_ctrl.kv += 0.01;
						break;
					case sel_w0:
						v_ctrl.w0 += 1;
						break;
					case sel_sin_n:
						v_ctrl.sin_n += 0.01;
						break;
					case sel_offset:
						v_ctrl.offset += 0.1;
						break;
				}

				display_setting_info(&v_ctrl);
			}
		}
		else if (evt3 == BUTTON_EVENT_LONG_PRESS)
		{
			if(oled_state.page_num == in_setting)
			{
				switch(oled_state.sel_num)
				{
					case sel_kp:
						v_ctrl.kp += 0.1f;
						break;
					case sel_ki:
						v_ctrl.ki += 0.1f;
						break;
//					case sel_ki:
//						v_ctrl.sin_k+=0.1;
					case sel_var:
						v_ctrl.Vtar += 1.0f;
						break;
					case sel_kv:
						v_ctrl.kv += 0.1f;
						break;
					case sel_w0:
						v_ctrl.w0 += 1.0f;
					  	break;
					case sel_sin_n:
						v_ctrl.sin_n += 0.1;
						break;
					case sel_offset:
						v_ctrl.offset += 1;
						break;
				}
				display_setting_info(&v_ctrl);
			}
		}
}

/* USER CODE END 4 */

void Error_Handler(void)
{
  __disable_irq();
  while (1)
  {
  }
}
